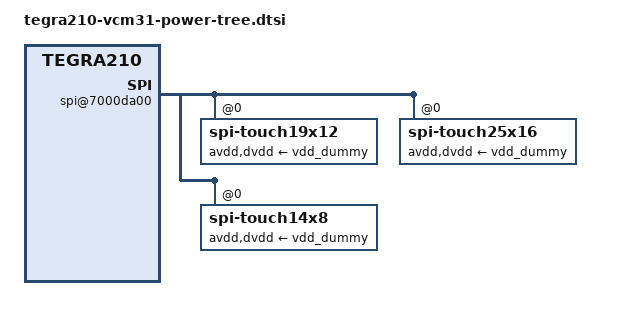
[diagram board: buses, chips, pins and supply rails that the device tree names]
/*
 * Copyright (c) 2015, NVIDIA CORPORATION.  All rights reserved.
 *
 * This program is free software; you can redistribute it and/or modify
 * it under the terms of the GNU General Public License as published by
 * the Free Software Foundation; either version 2 of the License, or
 * (at your option) any later version.
 *
 * This program is distributed in the hope that it will be useful, but WITHOUT
 * ANY WARRANTY; without even the implied warranty of MERCHANTABILITY or
 * FITNESS FOR A PARTICULAR PURPOSE.  See the GNU General Public License for
 * more details.
 *
 * You should have received a copy of the GNU General Public License along
 * along with this program. If not, see <http://www.gnu.org/licenses/>.
 */

#include "tegra210-vcm31-pmic.dtsi"

/ {

	efuse@7000f800 {
		vpp_fuse-supply = <&vdd_dummy>;
	};

	host1x {
		/* tegradc.0 */
		dc@54200000 {
			avdd_dsi_csi-supply = <&vdd_dummy>;
			vdd_ds_1v8-supply = <&vdd_dummy>;
			vdd_lcd_bl-supply = <&vdd_dummy>;
			vdd_lcd_bl_en-supply = <&vdd_dummy>;
			avdd_lcd-supply = <&vdd_dummy>;
			vdd-dp-pwr-supply = <&vdd_dummy>;
			avdd-dp-pll-supply = <&vdd_dummy>;
			vdd-edp-sec-mode-supply = <&vdd_dummy>;
			vdd-dp-pad-supply = <&vdd_dummy>;
		};
		/* tegradc.1 */
		dc@54240000 {
			avdd_hdmi-supply = <&vdd_dummy>;
			avdd_hdmi_pll-supply = <&vdd_dummy>;
			vdd_hdmi_5v0-supply = <&vdd_dummy>;
		};

		vi {
			avdd_dsi_csi-supply = <&vdd_dummy>;
		};
	};
	sound {
		ldoen-supply = <&vdd_dummy>;
		spkvdd-supply = <&vdd_dummy>;
		dbvdd-supply = <&vdd_dummy>;
		dmicvdd-supply = <&vdd_dummy>;
	};

	xusb@70090000 {
		hvdd_usb-supply = <&vdd_dummy>;
		avdd_pll_utmip-supply = <&vdd_dummy>;
		vddio_hsic-supply = <&vdd_dummy>;
		avddio_usb-supply = <&vdd_dummy>;
		dvdd_sata-supply = <&vdd_dummy>;
		avddio_pll_uerefe-supply = <&vdd_dummy>;
	};

	pinctrl@7009f000 {
		vbus-0-supply = <&vdd_dummy>;
		vbus-1-supply = <&vdd_dummy>;
		vbus-2-supply = <&vdd_dummy>;
		vbus-3-supply = <&vdd_dummy>;
		avdd_pll_uerefe-supply = <&vdd_dummy>;
		hvdd_pex_pll_e-supply = <&vdd_dummy>;
		dvdd_pex_pll-supply = <&vdd_dummy>;
		hvddio_pex-supply = <&vdd_dummy>;
		dvddio_pex-supply = <&vdd_dummy>;
		hvdd_sata-supply = <&vdd_dummy>;
		dvdd_sata_pll-supply = <&vdd_dummy>;
		hvddio_sata-supply = <&vdd_dummy>;
		dvddio_sata-supply = <&vdd_dummy>;
		vddio-hsic-supply = <&vdd_dummy>;
	};

	xudc@700d0000 {
		usb_vbus0-supply = <&vdd_dummy>;
		hvdd_usb-supply = <&vdd_dummy>;
		avdd_pll_utmip-supply = <&vdd_dummy>;
		avddio_usb-supply = <&vdd_dummy>;
		avddio_pll_uerefe-supply = <&vdd_dummy>;
	};

	xotg {
		usb_vbus-supply = <&vdd_dummy>;
	};

	sdhci@700b0600 {
		vqmmc-supply = <&vdd_dummy_1v8>;
		vmmc-supply = <&vdd_3v3>;
	};

	sdhci@700b0400 {
		vqmmc-supply = <&max20024_ldo5>;
		vmmc-supply = <&en_vdd_sdcard3>;
	};

	sdhci@700b0000 {
		vqmmc-supply = <&max20024_ldo3>;
		vmmc-supply = <&en_vdd_sdcard1>;
	};

	sata@70020000 {
		hvdd_sata-supply = <&vdd_dummy>;
		hvdd_pex_pll_e-supply = <&vdd_dummy>;
		l0_hvddio_sata-supply = <&vdd_dummy>;
		l0_dvddio_sata-supply = <&vdd_dummy>;
		dvdd_sata_pll-supply = <&vdd_dummy>;
	};

	pcie-controller@1003000 {
		dvdd-pex-pll-supply = <&vdd_dummy>;
		l0-dvddio-pex-supply = <&vdd_dummy>;
		l1-dvddio-pex-supply = <&vdd_dummy>;
		l2-dvddio-pex-supply = <&vdd_dummy>;
		l3-dvddio-pex-supply = <&vdd_dummy>;
		l4-dvddio-pex-supply = <&vdd_dummy>;
		l5-dvddio-pex-supply = <&vdd_dummy>;
		l6-dvddio-pex-supply = <&vdd_dummy>;
		hvdd-pex-pll-e-supply = <&vdd_dummy>;
		l0-hvddio-pex-supply = <&vdd_dummy>;
		l1-hvddio-pex-supply = <&vdd_dummy>;
		l2-hvddio-pex-supply = <&vdd_dummy>;
		l3-hvddio-pex-supply = <&vdd_dummy>;
		l4-hvddio-pex-supply = <&vdd_dummy>;
		l5-hvddio-pex-supply = <&vdd_dummy>;
		l6-hvddio-pex-supply = <&vdd_dummy>;
		vddio-pex-ctl-supply = <&vdd_dummy>;
	};

	tegra-supply-tests {
		vdd-core-supply=<&vdd_dummy>;
	};

	spi@7000da00 {
		spi-touch19x12@0 {
			avdd-supply = <&vdd_dummy>;
			dvdd-supply = <&vdd_dummy>;
		};
		spi-touch25x16@0 {
			avdd-supply = <&vdd_dummy>;
			dvdd-supply = <&vdd_dummy>;
		};
		spi-touch14x8@0 {
			avdd-supply = <&vdd_dummy>;
			dvdd-supply = <&vdd_dummy>;
		};
	};

	pmc-iopower {
		vddio-sys-supply = <&vdd_dummy>;
		vddio-uart-supply = <&vdd_dummy>;
		vddio-audio-supply = <&vdd_dummy>;
		vddio-cam-supply = <&vdd_dummy>;
		vddio-pex-ctrl-supply = <&vdd_dummy>;
		vddio-sdmmc1-supply = <&vdd_dummy>;
		vddio-sdmmc3-supply = <&vdd_dummy>;
		vddio-sdmmc4-supply = <&vdd_dummy>;
		vddio-audio-hv-supply = <&vdd_dummy>;
		vddio-debug-supply = <&vdd_dummy>;
		vddio-dmic-supply = <&vdd_dummy>;
		vddio-gpio-supply = <&vdd_dummy>;
		vddio-spi-supply = <&vdd_dummy>;
		vddio-spi-hv-supply = <&vdd_dummy>;
		vddio-sdmmc2-supply = <&vdd_dummy>;
		vddio-dp-supply = <&vdd_dummy>;
	};

	pwm-fan {
		vdd-fan-supply = <&vdd_dummy>;
	};
};
